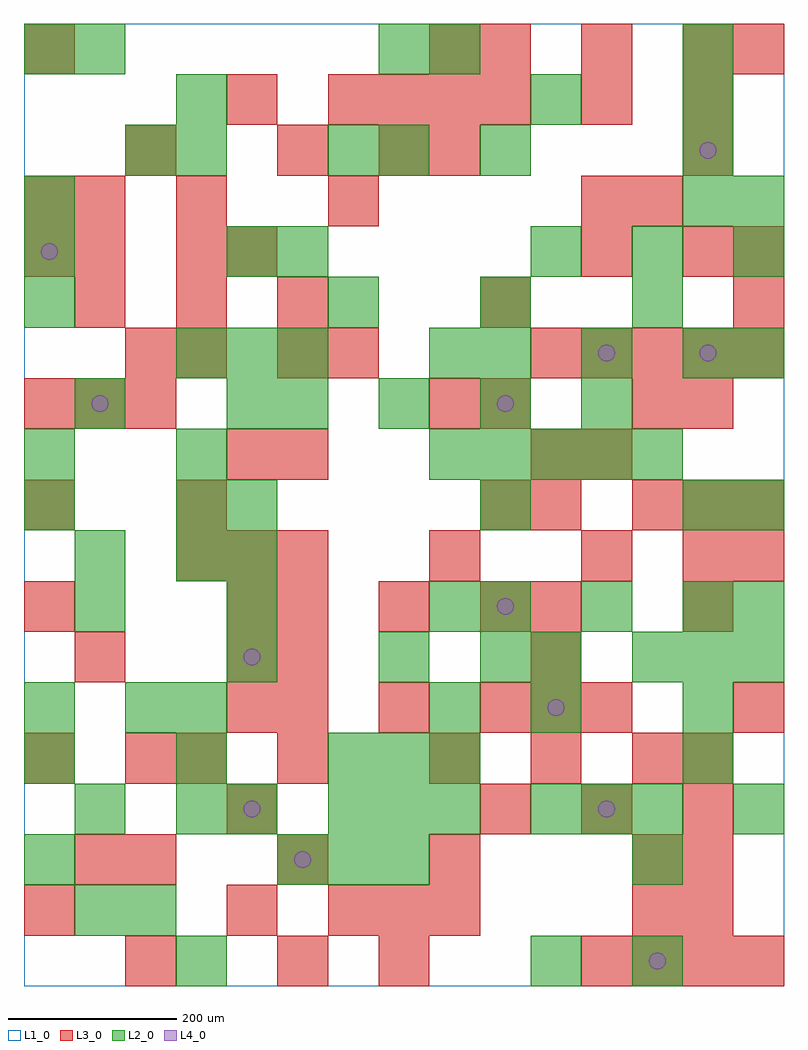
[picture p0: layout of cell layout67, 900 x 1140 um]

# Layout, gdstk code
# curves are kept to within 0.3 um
import gdstk
lib = gdstk.Library(unit=1e-6, precision=1e-09)
def R(c, l, rs):  # rectangles x0, y0, x1, y1
    for r in rs: c.add(gdstk.rectangle(r[:2], r[2:], *l))
def A(c, l, x, y, w, h, nx, ny, dx, dy):  # array of equal rectangles
    R(c, l, [(x+i*dx, y+j*dy, x+i*dx+w, y+j*dy+h) for i in range(nx) for j in range(ny)])
def P(c, l, *ps):  # polygons
    for p in ps: c.add(gdstk.Polygon(p, *l))
L1_0 = (1, 0)
L2_0 = (2, 0)
L3_0 = (3, 0)
L4_0 = (4, 0)

layout67 = lib.new_cell('layout67')
R(layout67, L1_0, [(0,0,900,1140)])
A(layout67, L2_0, 300, 120, 60, 60, 3, 1, 60, 0)
A(layout67, L2_0, 360, 180, 60, 60, 3, 1, 60, 0)
A(layout67, L2_0, 600, 180, 60, 60, 3, 1, 60, 0)
A(layout67, L2_0, 0, 240, 60, 60, 3, 1, 180, 0)
A(layout67, L2_0, 240, 360, 60, 60, 1, 4, 0, 60)
A(layout67, L2_0, 720, 360, 60, 60, 3, 1, 60, 0)
A(layout67, L2_0, 540, 420, 60, 60, 3, 2, 120, 300)
A(layout67, L2_0, 180, 480, 60, 60, 1, 3, 0, 60)
A(layout67, L2_0, 840, 540, 60, 60, 1, 3, 0, 180)
A(layout67, L2_0, 480, 600, 60, 60, 5, 1, 60, 0)
A(layout67, L2_0, 300, 660, 60, 60, 4, 1, 120, 0)
A(layout67, L2_0, 180, 720, 60, 60, 3, 1, 60, 0)
A(layout67, L2_0, 0, 780, 60, 60, 1, 3, 0, 60)
A(layout67, L2_0, 360, 780, 60, 60, 3, 1, 180, 0)
A(layout67, L2_0, 600, 840, 60, 60, 3, 1, 120, 0)
A(layout67, L2_0, 780, 900, 60, 60, 1, 4, 0, 60)
R(layout67, L2_0, [(180,0,240,60), (600,0,660,60), (720,0,780,60), (60,60,120,120), (120,60,180,120), (0,120,60,180), (720,120,780,180), (60,180,120,240), (180,180,240,240), (240,180,300,240), (840,180,900,240), (420,240,480,300), (480,240,540,300), (780,240,840,300), (0,300,60,360), (120,300,180,360), (180,300,240,360), (480,300,540,360), (600,300,660,360), (780,300,840,360), (420,360,480,420), (540,360,600,420), (600,360,660,420), (60,420,120,480), (480,420,540,480), (840,420,900,480), (60,480,120,540), (0,540,60,600), (540,540,600,600), (780,540,840,600), (0,600,60,660), (60,660,120,720), (240,660,300,720), (480,720,540,780), (240,840,300,900), (300,840,360,900), (120,960,180,1020), (180,960,240,1020), (360,960,420,1020), (420,960,480,1020), (540,960,600,1020), (180,1020,240,1080), (600,1020,660,1080), (0,1080,60,1140), (60,1080,120,1140), (420,1080,480,1140), (480,1080,540,1140)])
A(layout67, L3_0, 660, 0, 60, 60, 4, 1, 60, 0)
A(layout67, L3_0, 0, 60, 60, 60, 1, 3, 0, 180)
A(layout67, L3_0, 240, 60, 60, 60, 1, 3, 0, 120)
A(layout67, L3_0, 360, 60, 60, 60, 3, 1, 60, 0)
A(layout67, L3_0, 120, 120, 60, 60, 3, 1, 180, 0)
A(layout67, L3_0, 540, 180, 60, 60, 3, 2, 120, 900)
A(layout67, L3_0, 480, 240, 60, 60, 3, 1, 120, 0)
A(layout67, L3_0, 300, 300, 60, 60, 3, 2, 120, 120)
A(layout67, L3_0, 600, 300, 60, 60, 1, 3, 0, 60)
A(layout67, L3_0, 180, 480, 60, 60, 3, 1, 60, 0)
A(layout67, L3_0, 780, 480, 60, 60, 1, 3, 0, 180)
A(layout67, L3_0, 540, 540, 60, 60, 1, 3, 0, 120)
A(layout67, L3_0, 720, 540, 60, 60, 3, 1, 60, 0)
A(layout67, L3_0, 0, 660, 60, 60, 3, 1, 60, 0)
A(layout67, L3_0, 600, 720, 60, 60, 5, 1, 60, 0)
A(layout67, L3_0, 60, 780, 60, 60, 3, 1, 120, 0)
A(layout67, L3_0, 360, 1020, 60, 60, 4, 1, 60, 0)
R(layout67, L3_0, [(120,0,180,60), (300,0,360,60), (420,0,480,60), (720,60,780,120), (780,60,840,120), (60,120,120,180), (720,120,780,180), (780,120,840,180), (120,240,180,300), (180,240,240,300), (300,240,360,300), (780,240,840,300), (660,300,720,360), (840,300,900,360), (60,360,120,420), (240,360,300,420), (300,360,360,420), (240,420,300,480), (780,420,840,480), (480,480,540,540), (660,480,720,540), (840,480,900,540), (0,540,60,600), (180,540,240,600), (600,540,660,600), (240,600,300,660), (300,600,360,660), (600,600,660,660), (660,600,720,660), (480,660,540,720), (720,660,780,720), (120,720,180,780), (180,720,240,780), (300,720,360,780), (360,720,420,780), (840,780,900,840), (0,840,60,900), (60,840,120,900), (180,840,240,900), (240,840,300,900), (660,840,720,900), (840,840,900,900), (0,900,60,960), (60,900,120,960), (180,900,240,960), (360,900,420,960), (660,900,720,960), (720,900,780,960), (120,960,180,1020), (300,960,360,1020), (420,960,480,1020), (480,960,540,1020), (780,960,840,1020), (240,1020,300,1080), (660,1020,720,1080), (780,1020,840,1080), (0,1080,60,1140), (480,1080,540,1140), (840,1080,900,1140)])
P(layout67, L4_0, [(40,870),(39.239,873.827),(37.071,877.071),(33.827,879.239),(30,880),(26.173,879.239),(22.929,877.071),(20.761,873.827),(20,870),(20.761,866.173),(22.929,862.929),(26.173,860.761),(30,860),(33.827,860.761),(37.071,862.929),(39.239,866.173)],
  [(100,690),(99.239,693.827),(97.071,697.071),(93.827,699.239),(90,700),(86.173,699.239),(82.929,697.071),(80.761,693.827),(80,690),(80.761,686.173),(82.929,682.929),(86.173,680.761),(90,680),(93.827,680.761),(97.071,682.929),(99.239,686.173)],
  [(280,210),(279.239,213.827),(277.071,217.071),(273.827,219.239),(270,220),(266.173,219.239),(262.929,217.071),(260.761,213.827),(260,210),(260.761,206.173),(262.929,202.929),(266.173,200.761),(270,200),(273.827,200.761),(277.071,202.929),(279.239,206.173)],
  [(280,390),(279.239,393.827),(277.071,397.071),(273.827,399.239),(270,400),(266.173,399.239),(262.929,397.071),(260.761,393.827),(260,390),(260.761,386.173),(262.929,382.929),(266.173,380.761),(270,380),(273.827,380.761),(277.071,382.929),(279.239,386.173)],
  [(340,150),(339.239,153.827),(337.071,157.071),(333.827,159.239),(330,160),(326.173,159.239),(322.929,157.071),(320.761,153.827),(320,150),(320.761,146.173),(322.929,142.929),(326.173,140.761),(330,140),(333.827,140.761),(337.071,142.929),(339.239,146.173)],
  [(580,450),(579.239,453.827),(577.071,457.071),(573.827,459.239),(570,460),(566.173,459.239),(562.929,457.071),(560.761,453.827),(560,450),(560.761,446.173),(562.929,442.929),(566.173,440.761),(570,440),(573.827,440.761),(577.071,442.929),(579.239,446.173)],
  [(580,690),(579.239,693.827),(577.071,697.071),(573.827,699.239),(570,700),(566.173,699.239),(562.929,697.071),(560.761,693.827),(560,690),(560.761,686.173),(562.929,682.929),(566.173,680.761),(570,680),(573.827,680.761),(577.071,682.929),(579.239,686.173)],
  [(640,330),(639.239,333.827),(637.071,337.071),(633.827,339.239),(630,340),(626.173,339.239),(622.929,337.071),(620.761,333.827),(620,330),(620.761,326.173),(622.929,322.929),(626.173,320.761),(630,320),(633.827,320.761),(637.071,322.929),(639.239,326.173)],
  [(700,210),(699.239,213.827),(697.071,217.071),(693.827,219.239),(690,220),(686.173,219.239),(682.929,217.071),(680.761,213.827),(680,210),(680.761,206.173),(682.929,202.929),(686.173,200.761),(690,200),(693.827,200.761),(697.071,202.929),(699.239,206.173)],
  [(700,750),(699.239,753.827),(697.071,757.071),(693.827,759.239),(690,760),(686.173,759.239),(682.929,757.071),(680.761,753.827),(680,750),(680.761,746.173),(682.929,742.929),(686.173,740.761),(690,740),(693.827,740.761),(697.071,742.929),(699.239,746.173)],
  [(760,30),(759.239,33.827),(757.071,37.071),(753.827,39.239),(750,40),(746.173,39.239),(742.929,37.071),(740.761,33.827),(740,30),(740.761,26.173),(742.929,22.929),(746.173,20.761),(750,20),(753.827,20.761),(757.071,22.929),(759.239,26.173)],
  [(820,750),(819.239,753.827),(817.071,757.071),(813.827,759.239),(810,760),(806.173,759.239),(802.929,757.071),(800.761,753.827),(800,750),(800.761,746.173),(802.929,742.929),(806.173,740.761),(810,740),(813.827,740.761),(817.071,742.929),(819.239,746.173)],
  [(820,990),(819.239,993.827),(817.071,997.071),(813.827,999.239),(810,1000),(806.173,999.239),(802.929,997.071),(800.761,993.827),(800,990),(800.761,986.173),(802.929,982.929),(806.173,980.761),(810,980),(813.827,980.761),(817.071,982.929),(819.239,986.173)])

lib.write_gds('layout67.gds')
